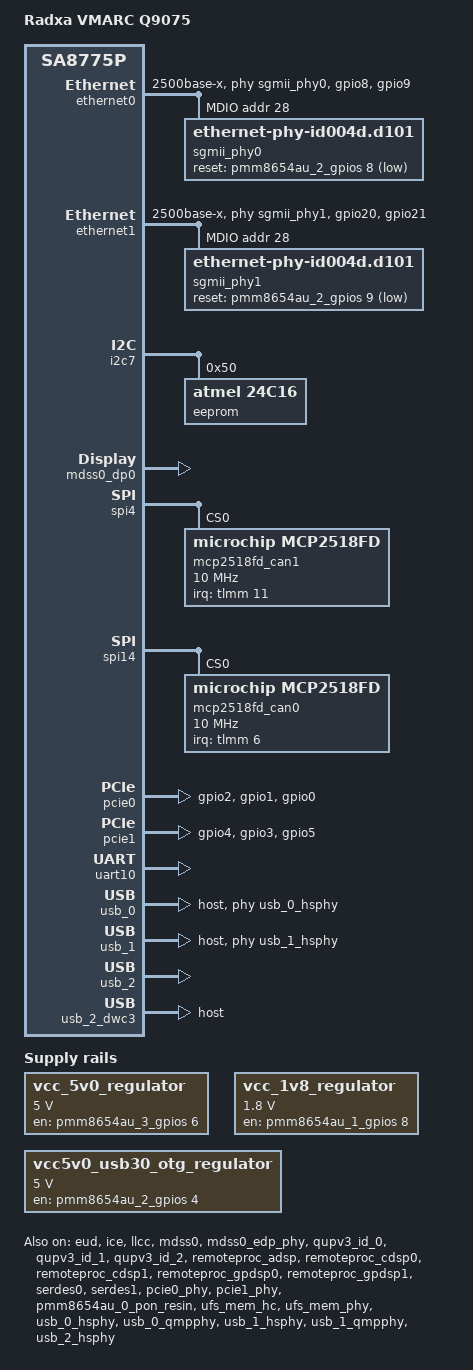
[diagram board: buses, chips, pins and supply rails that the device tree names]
// SPDX-License-Identifier: BSD-3-Clause
/*
 * Copyright (c) 2024, 2025, Qualcomm Innovation Center, Inc. All rights reserved.
 * Copyright (c) 2026 Radxa Computer (Shenzhen) Co., Ltd.
 */
/dts-v1/;

#include <dt-bindings/gpio/gpio.h>
#include <dt-bindings/leds/common.h>
#include <dt-bindings/regulator/qcom,rpmh-regulator.h>
#include  <dt-bindings/pwm/pwm.h>

#include "sa8775p.dtsi"
#include "sa8775p-addons.dtsi"
#include "sa8775p-pmics.dtsi"
#include "qcs9075-thermal.dtsi"
#include "qcs9xxx-reserved-memory.dtsi"
#include "sa8775p-video.dtsi"
#include "sa8775p-camera.dtsi"

/ {
	model = "Radxa VMARC Q9075";
	compatible = "radxa,vmarc-q9075", "qcom,qcs9075", "qcom,sa8775p";

	qcom,msm-id = <676 0x20000>;
	qcom,board-id = <0x10020 0>, <0x10019 0>;

	aliases {
		ethernet0 = &ethernet0;
		ethernet1 = &ethernet1;
		i2c0 = &i2c0;
		i2c1 = &i2c1;
		i2c2 = &i2c2;
		i2c3 = &i2c3;
		i2c4 = &i2c4;
		i2c5 = &i2c5;
		i2c7 = &i2c7;
		i2c8 = &i2c8;
		i2c9 = &i2c9;
		i2c10 = &i2c10;
		i2c11 = &i2c11;
		i2c12 = &i2c12;
		i2c13 = &i2c13;
		i2c14 = &i2c14;
		i2c15 = &i2c15;
		i2c16 = &i2c16;
		i2c17 = &i2c17;
		i2c18 = &i2c18;
		i2c19 = &i2c19;
		i2c20 = &i2c20;
		i2c21 = &i2c21;
		i2c22 = &cci0_i2c0;
		i2c23 = &cci0_i2c1;
		i2c24 = &cci1_i2c0;
		i2c25 = &cci1_i2c1;
		i2c26 = &cci2_i2c0;
		i2c27 = &cci2_i2c1;
		i2c28 = &cci3_i2c0;
		i2c29 = &cci3_i2c1;
		spi0 = &spi0;
		spi1 = &spi1;
		spi2 = &spi2;
		spi3 = &spi3;
		spi4 = &spi4;
		spi5 = &spi5;
		spi7 = &spi7;
		spi8 = &spi8;
		spi9 = &spi9;
		spi10 = &spi10;
		spi11 = &spi11;
		spi12 = &spi12;
		spi14 = &spi14;
		spi15 = &spi15;
		spi16 = &spi16;
		spi17 = &spi17;
		spi18 = &spi18;
		spi19 = &spi19;
		spi20 = &spi20;
		serial0 = &uart10;
		ufshc1 = &ufs_mem_hc;
	};

	chosen {
		stdout-path = "serial0:115200n8";
	};

	vcc_5v0_regulator: vcc-5v0-regulator {
		compatible = "regulator-fixed";
		regulator-name = "vcc_5v0";
		gpio = <&pmm8654au_3_gpios 6 GPIO_ACTIVE_HIGH>;
		pinctrl-names = "default";
		pinctrl-0 = <&pmg_gpio_6_vreg_5v_en>;
		regulator-min-microvolt = <5000000>;
		regulator-max-microvolt = <5000000>;
		regulator-boot-on;
		enable-active-high;
		regulator-always-on;
	};

	vcc_1v8_regulator: vcc-1v8-regulator {
		compatible = "regulator-fixed";
		regulator-name = "vcc_1v8";
		gpio = <&pmm8654au_1_gpios 8 GPIO_ACTIVE_HIGH>;
		enable-active-high;
		pinctrl-names = "default";
		pinctrl-0 = <&pmc_gpio_8_eth_pwr_en>;
		regulator-min-microvolt = <1800000>;
		regulator-max-microvolt = <1800000>;
		regulator-boot-on;
		regulator-always-on;
	};

	vcc5v0_usb30_otg_regulator: vcc5v0-usb30-otg-regulator {
		compatible = "regulator-fixed";
		regulator-name = "vcc5v0_usb30_otg";
		gpio = <&pmm8654au_2_gpios 4 GPIO_ACTIVE_HIGH>;
		pinctrl-names = "default";
		pinctrl-0 = <&pme_gpio_4_usb1_pwr_en>;
		regulator-min-microvolt = <5000000>;
		regulator-max-microvolt = <5000000>;
		regulator-boot-on;
		enable-active-high;
		regulator-always-on;
	};
};

&apps_rsc {
	regulators-0 {
		compatible = "qcom,pmm8654au-rpmh-regulators";
		qcom,pmic-id = "a";

		vreg_s4a: smps4 {
			regulator-name = "vreg_s4a";
			regulator-min-microvolt = <1800000>;
			regulator-max-microvolt = <1816000>;
			regulator-initial-mode = <RPMH_REGULATOR_MODE_HPM>;
		};

		vreg_s5a: smps5 {
			regulator-name = "vreg_s5a";
			regulator-min-microvolt = <1850000>;
			regulator-max-microvolt = <1996000>;
			regulator-initial-mode = <RPMH_REGULATOR_MODE_HPM>;
		};

		vreg_s9a: smps9 {
			regulator-name = "vreg_s9a";
			regulator-min-microvolt = <535000>;
			regulator-max-microvolt = <1120000>;
			regulator-initial-mode = <RPMH_REGULATOR_MODE_HPM>;
		};

		vreg_l4a: ldo4 {
			regulator-name = "vreg_l4a";
			regulator-min-microvolt = <788000>;
			regulator-max-microvolt = <1050000>;
			regulator-initial-mode = <RPMH_REGULATOR_MODE_HPM>;
			regulator-allow-set-load;
			regulator-allowed-modes = <RPMH_REGULATOR_MODE_LPM
						   RPMH_REGULATOR_MODE_HPM>;
		};

		vreg_l5a: ldo5 {
			regulator-name = "vreg_l5a";
			regulator-min-microvolt = <870000>;
			regulator-max-microvolt = <950000>;
			regulator-initial-mode = <RPMH_REGULATOR_MODE_HPM>;
			regulator-allow-set-load;
			regulator-allowed-modes = <RPMH_REGULATOR_MODE_LPM
						   RPMH_REGULATOR_MODE_HPM>;
		};

		vreg_l6a: ldo6 {
			regulator-name = "vreg_l6a";
			regulator-min-microvolt = <870000>;
			regulator-max-microvolt = <970000>;
			regulator-initial-mode = <RPMH_REGULATOR_MODE_HPM>;
			regulator-allow-set-load;
			regulator-allowed-modes = <RPMH_REGULATOR_MODE_LPM
						   RPMH_REGULATOR_MODE_HPM>;
		};

		vreg_l7a: ldo7 {
			regulator-name = "vreg_l7a";
			regulator-min-microvolt = <720000>;
			regulator-max-microvolt = <950000>;
			regulator-initial-mode = <RPMH_REGULATOR_MODE_HPM>;
			regulator-allow-set-load;
			regulator-allowed-modes = <RPMH_REGULATOR_MODE_LPM
						   RPMH_REGULATOR_MODE_HPM>;
		};

		vreg_l8a: ldo8 {
			regulator-name = "vreg_l8a";
			regulator-min-microvolt = <2504000>;
			regulator-max-microvolt = <3300000>;
			regulator-initial-mode = <RPMH_REGULATOR_MODE_HPM>;
			regulator-allow-set-load;
			regulator-allowed-modes = <RPMH_REGULATOR_MODE_LPM
						   RPMH_REGULATOR_MODE_HPM>;
		};

		vreg_l9a: ldo9 {
			regulator-name = "vreg_l9a";
			regulator-min-microvolt = <2970000>;
			regulator-max-microvolt = <3544000>;
			regulator-initial-mode = <RPMH_REGULATOR_MODE_HPM>;
			regulator-allow-set-load;
			regulator-allowed-modes = <RPMH_REGULATOR_MODE_LPM
						   RPMH_REGULATOR_MODE_HPM>;
		};
	};

	regulators-1 {
		compatible = "qcom,pmm8654au-rpmh-regulators";
		qcom,pmic-id = "c";

		vreg_l1c: ldo1 {
			regulator-name = "vreg_l1c";
			regulator-min-microvolt = <1140000>;
			regulator-max-microvolt = <1260000>;
			regulator-initial-mode = <RPMH_REGULATOR_MODE_HPM>;
			regulator-allow-set-load;
			regulator-allowed-modes = <RPMH_REGULATOR_MODE_LPM
						   RPMH_REGULATOR_MODE_HPM>;
		};

		vreg_l2c: ldo2 {
			regulator-name = "vreg_l2c";
			regulator-min-microvolt = <900000>;
			regulator-max-microvolt = <1100000>;
			regulator-initial-mode = <RPMH_REGULATOR_MODE_HPM>;
			regulator-allow-set-load;
			regulator-allowed-modes = <RPMH_REGULATOR_MODE_LPM
						   RPMH_REGULATOR_MODE_HPM>;
		};

		vreg_l3c: ldo3 {
			regulator-name = "vreg_l3c";
			regulator-min-microvolt = <1100000>;
			regulator-max-microvolt = <1300000>;
			regulator-initial-mode = <RPMH_REGULATOR_MODE_HPM>;
			regulator-allow-set-load;
			regulator-allowed-modes = <RPMH_REGULATOR_MODE_LPM
						   RPMH_REGULATOR_MODE_HPM>;
		};

		vreg_l4c: ldo4 {
			regulator-name = "vreg_l4c";
			regulator-min-microvolt = <1200000>;
			regulator-max-microvolt = <1200000>;
			regulator-initial-mode = <RPMH_REGULATOR_MODE_HPM>;
			/*
			 * FIXME: This should have regulator-allow-set-load but
			 * we're getting an over-current fault from the PMIC
			 * when switching to LPM.
			 */
		};

		vreg_l5c: ldo5 {
			regulator-name = "vreg_l5c";
			regulator-min-microvolt = <1100000>;
			regulator-max-microvolt = <1300000>;
			regulator-initial-mode = <RPMH_REGULATOR_MODE_HPM>;
			regulator-allow-set-load;
			regulator-allowed-modes = <RPMH_REGULATOR_MODE_LPM
						   RPMH_REGULATOR_MODE_HPM>;
		};

		vreg_l6c: ldo6 {
			regulator-name = "vreg_l6c";
			regulator-min-microvolt = <1620000>;
			regulator-max-microvolt = <1980000>;
			regulator-initial-mode = <RPMH_REGULATOR_MODE_HPM>;
			regulator-allow-set-load;
			regulator-allowed-modes = <RPMH_REGULATOR_MODE_LPM
						   RPMH_REGULATOR_MODE_HPM>;
		};

		vreg_l7c: ldo7 {
			regulator-name = "vreg_l7c";
			regulator-min-microvolt = <1620000>;
			regulator-max-microvolt = <2000000>;
			regulator-initial-mode = <RPMH_REGULATOR_MODE_HPM>;
			regulator-allow-set-load;
			regulator-allowed-modes = <RPMH_REGULATOR_MODE_LPM
						   RPMH_REGULATOR_MODE_HPM>;
		};

		vreg_l8c: ldo8 {
			regulator-name = "vreg_l8c";
			regulator-min-microvolt = <2400000>;
			regulator-max-microvolt = <3300000>;
			regulator-initial-mode = <RPMH_REGULATOR_MODE_HPM>;
			regulator-allow-set-load;
			regulator-allowed-modes = <RPMH_REGULATOR_MODE_LPM
						   RPMH_REGULATOR_MODE_HPM>;
		};

		vreg_l9c: ldo9 {
			regulator-name = "vreg_l9c";
			regulator-min-microvolt = <1650000>;
			regulator-max-microvolt = <2700000>;
			regulator-initial-mode = <RPMH_REGULATOR_MODE_HPM>;
			regulator-allow-set-load;
			regulator-allowed-modes = <RPMH_REGULATOR_MODE_LPM
						   RPMH_REGULATOR_MODE_HPM>;
		};
	};

	regulators-2 {
		compatible = "qcom,pmm8654au-rpmh-regulators";
		qcom,pmic-id = "e";

		vreg_s4e: smps4 {
			regulator-name = "vreg_s4e";
			regulator-min-microvolt = <970000>;
			regulator-max-microvolt = <1520000>;
			regulator-initial-mode = <RPMH_REGULATOR_MODE_HPM>;
		};

		vreg_s7e: smps7 {
			regulator-name = "vreg_s7e";
			regulator-min-microvolt = <1010000>;
			regulator-max-microvolt = <1170000>;
			regulator-initial-mode = <RPMH_REGULATOR_MODE_HPM>;
		};

		vreg_s9e: smps9 {
			regulator-name = "vreg_s9e";
			regulator-min-microvolt = <300000>;
			regulator-max-microvolt = <570000>;
			regulator-initial-mode = <RPMH_REGULATOR_MODE_HPM>;
		};

		vreg_l6e: ldo6 {
			regulator-name = "vreg_l6e";
			regulator-min-microvolt = <1280000>;
			regulator-max-microvolt = <1450000>;
			regulator-initial-mode = <RPMH_REGULATOR_MODE_HPM>;
			regulator-allow-set-load;
			regulator-allowed-modes = <RPMH_REGULATOR_MODE_LPM
						   RPMH_REGULATOR_MODE_HPM>;
		};

		vreg_l8e: ldo8 {
			regulator-name = "vreg_l8e";
			regulator-min-microvolt = <1800000>;
			regulator-max-microvolt = <1950000>;
			regulator-initial-mode = <RPMH_REGULATOR_MODE_HPM>;
			regulator-allow-set-load;
			regulator-allowed-modes = <RPMH_REGULATOR_MODE_LPM
						   RPMH_REGULATOR_MODE_HPM>;
		};
	};
};

&ethernet0 {
	phy-handle = <&sgmii_phy0>;
	phy-mode = "2500base-x";

	pinctrl-0 = <&ethernet0_default>;
	pinctrl-names = "default";

	snps,mtl-rx-config = <&mtl_rx_setup>;
	snps,mtl-tx-config = <&mtl_tx_setup>;
	snps,ps-speed = <1000>;

	status = "okay";

	eeprom-for-mac = <&eeprom>;
	mac-eeprom-offset = <0x9e>;

	mdio {
		compatible = "snps,dwmac-mdio";
		#address-cells = <1>;
		#size-cells = <0>;

		sgmii_phy0: phy@1c {
			compatible = "ethernet-phy-id004d.d101";
			reg = <0x1c>;
			device_type = "ethernet-phy";
			reset-gpios = <&pmm8654au_2_gpios 8 GPIO_ACTIVE_LOW>;
			reset-assert-us = <11000>;
			reset-deassert-us = <70000>;

			leds {
				#address-cells = <1>;
				#size-cells = <0>;

				led@0 {
					reg = <0>;
					active-low;
					color = <LED_COLOR_ID_YELLOW>;
				};

				led@1 {
					reg = <1>;
					active-low;
					color = <LED_COLOR_ID_GREEN>;
				};
			};
		};
	};

	mtl_rx_setup: rx-queues-config {
		snps,rx-queues-to-use = <4>;
		snps,rx-sched-sp;

		queue0 {
			snps,dcb-algorithm;
			snps,map-to-dma-channel = <0x0>;
			snps,route-up;
			snps,priority = <0x1>;
		};

		queue1 {
			snps,dcb-algorithm;
			snps,map-to-dma-channel = <0x1>;
			snps,route-ptp;
		};

		queue2 {
			snps,avb-algorithm;
			snps,map-to-dma-channel = <0x2>;
			snps,route-avcp;
		};

		queue3 {
			snps,avb-algorithm;
			snps,map-to-dma-channel = <0x3>;
			snps,priority = <0xc>;
		};
	};

	mtl_tx_setup: tx-queues-config {
		snps,tx-queues-to-use = <4>;
		snps,tx-sched-sp;

		queue0 {
			snps,dcb-algorithm;
		};

		queue1 {
			snps,dcb-algorithm;
		};

		queue2 {
			snps,avb-algorithm;
			snps,send_slope = <0x1000>;
			snps,idle_slope = <0x1000>;
			snps,high_credit = <0x3e800>;
			snps,low_credit = <0xffc18000>;
		};

		queue3 {
			snps,avb-algorithm;
			snps,send_slope = <0x1000>;
			snps,idle_slope = <0x1000>;
			snps,high_credit = <0x3e800>;
			snps,low_credit = <0xffc18000>;
		};
	};
};

&ethernet1 {
	phy-handle = <&sgmii_phy1>;
	phy-mode = "2500base-x";

	pinctrl-0 = <&ethernet1_default>;
	pinctrl-names = "default";

	snps,mtl-rx-config = <&mtl_rx_setup1>;
	snps,mtl-tx-config = <&mtl_tx_setup1>;
	snps,ps-speed = <1000>;

	status = "okay";

	eeprom-for-mac = <&eeprom>;
	mac-eeprom-offset = <0xa4>;

	mdio {
		compatible = "snps,dwmac-mdio";
		#address-cells = <1>;
		#size-cells = <0>;

		sgmii_phy1: phy@1c {
			compatible = "ethernet-phy-id004d.d101";
			reg = <0x1c>;
			device_type = "ethernet-phy";
			reset-gpios = <&pmm8654au_2_gpios 9 GPIO_ACTIVE_LOW>;
			reset-assert-us = <11000>;
			reset-deassert-us = <70000>;

			leds {
				#address-cells = <1>;
				#size-cells = <0>;

				led@0 {
					reg = <0>;
					active-low;
					color = <LED_COLOR_ID_YELLOW>;
				};

				led@1 {
					reg = <1>;
					active-low;
					color = <LED_COLOR_ID_GREEN>;
				};
			};
		};
	};

	mtl_rx_setup1: rx-queues-config {
		snps,rx-queues-to-use = <4>;
		snps,rx-sched-sp;

		queue0 {
			snps,dcb-algorithm;
			snps,map-to-dma-channel = <0x0>;
			snps,route-up;
			snps,priority = <0x1>;
		};

		queue1 {
			snps,dcb-algorithm;
			snps,map-to-dma-channel = <0x1>;
			snps,route-ptp;
		};

		queue2 {
			snps,avb-algorithm;
			snps,map-to-dma-channel = <0x2>;
			snps,route-avcp;
		};

		queue3 {
			snps,avb-algorithm;
			snps,map-to-dma-channel = <0x3>;
			snps,priority = <0xc>;
		};
	};

	mtl_tx_setup1: tx-queues-config {
		snps,tx-queues-to-use = <4>;
		snps,tx-sched-sp;

		queue0 {
			snps,dcb-algorithm;
		};

		queue1 {
			snps,dcb-algorithm;
		};

		queue2 {
			snps,avb-algorithm;
			snps,send_slope = <0x1000>;
			snps,idle_slope = <0x1000>;
			snps,high_credit = <0x3e800>;
			snps,low_credit = <0xffc18000>;
		};

		queue3 {
			snps,avb-algorithm;
			snps,send_slope = <0x1000>;
			snps,idle_slope = <0x1000>;
			snps,high_credit = <0x3e800>;
			snps,low_credit = <0xffc18000>;
		};
	};
};

&eud {
	status = "okay";
};

&i2c0 {
	qcom,load-firmware;
	qcom,xfer-mode = <1>;
};

&i2c1 {
	qcom,load-firmware;
	qcom,xfer-mode = <1>;
};

&i2c2 {
	qcom,load-firmware;
	qcom,xfer-mode = <1>;
};

&i2c3 {
	qcom,load-firmware;
	qcom,xfer-mode = <1>;
};

&i2c4 {
	qcom,load-firmware;
	qcom,xfer-mode = <1>;
};

&i2c5 {
	qcom,load-firmware;
	qcom,xfer-mode = <1>;
};

&i2c7 {
	qcom,load-firmware;
	qcom,xfer-mode = <1>;
	pinctrl-names = "default";
	pinctrl-0 = <&qup_i2c7_default>;
	status = "okay";

	eeprom: eeprom@50 {
		compatible = "atmel,24c16";
		reg = <0x50>;
		pagesize = <16>;
		i2c_id = <7>;
	};
};

&i2c8 {
	qcom,load-firmware;
	qcom,xfer-mode = <1>;
};

&i2c9 {
	qcom,load-firmware;
	qcom,xfer-mode = <1>;
};

&i2c10 {
	qcom,load-firmware;
	qcom,xfer-mode = <1>;
};

&i2c11 {
	qcom,load-firmware;
	qcom,xfer-mode = <1>;
};

&i2c12 {
	qcom,load-firmware;
	qcom,xfer-mode = <1>;
};

&i2c13 {
	qcom,load-firmware;
	qcom,xfer-mode = <1>;
};

&i2c14 {
	qcom,load-firmware;
	qcom,xfer-mode = <1>;
};

&i2c15 {
	qcom,load-firmware;
	qcom,xfer-mode = <1>;
};

&i2c16 {
	qcom,load-firmware;
	qcom,xfer-mode = <1>;
};

&i2c17 {
	qcom,load-firmware;
	qcom,xfer-mode = <1>;
};

&i2c18 {
	qcom,load-firmware;
	qcom,xfer-mode = <1>;
};

&i2c19 {
	qcom,load-firmware;
	qcom,xfer-mode = <1>;
};

&ice {
	status = "okay";
};

&llcc {
	status = "okay";
};

&mdss0 {
	status = "okay";
};

&mdss0_dp0 {
	status = "okay";
};

&mdss0_dp0_out {
	data-lanes = <0 1 2 3>;
	link-frequencies = /bits/ 64 <1620000000 2700000000 5400000000 8100000000>;
};

&mdss0_edp_phy {
	status = "okay";
};

&qupv3_id_0 {
	firmware-name = "qupv3fw.elf";
	status = "okay";
};

&qupv3_id_1 {
	firmware-name = "qupv3fw.elf";
	status = "okay";
};

&qupv3_id_2 {
	firmware-name = "qupv3fw.elf";
	status = "okay";
};

&remoteproc_adsp {
	firmware-name = "qcom/sa8775p/adsp.mbn";
	status = "okay";
};

&remoteproc_cdsp0 {
	firmware-name = "qcom/sa8775p/cdsp0.mbn";
	status = "okay";
};

&remoteproc_cdsp1 {
	firmware-name = "qcom/sa8775p/cdsp1.mbn";
	status = "okay";
};

&remoteproc_gpdsp0 {
	firmware-name = "qcom/sa8775p/gpdsp0.mbn";
	status = "okay";
};

&remoteproc_gpdsp1 {
	firmware-name = "qcom/sa8775p/gpdsp1.mbn";
	status = "okay";
};

&serdes0 {
	phy-supply = <&vreg_l5a>;
	status = "okay";
};

&serdes1 {
	phy-supply = <&vreg_l5a>;
	status = "okay";
};

&sleep_clk {
	clock-frequency = <32768>;
};

&spi0 {
	qcom,load-firmware;
	qcom,xfer-mode = <1>;
};

&spi1 {
	qcom,load-firmware;
	qcom,xfer-mode = <1>;
};

&spi2 {
	qcom,load-firmware;
	qcom,xfer-mode = <1>;
};

&spi3 {
	qcom,load-firmware;
	qcom,xfer-mode = <1>;
};

&spi4 {
	qcom,load-firmware;
	qcom,xfer-mode = <1>;
	status = "okay";

	mcp2518fd_can1: can@0 {
		compatible = "microchip,mcp2518fd";
		reg = <0>;
		clock-frequency = <40000000>;
		spi-max-frequency = <10000000>;
		interrupt-names = "can1_irq";
		interrupts-extended = <&tlmm 11 IRQ_TYPE_LEVEL_LOW>;
		status = "okay";
	};
};

&spi5 {
	qcom,load-firmware;
	qcom,xfer-mode = <1>;
};

&spi7 {
	qcom,load-firmware;
	qcom,xfer-mode = <1>;
};

&spi8 {
	qcom,load-firmware;
	qcom,xfer-mode = <1>;
};

&spi9 {
	qcom,load-firmware;
	qcom,xfer-mode = <1>;
};

&spi10 {
	qcom,load-firmware;
	qcom,xfer-mode = <1>;
};

&spi11 {
	qcom,load-firmware;
	qcom,xfer-mode = <1>;
};

&spi12 {
	qcom,load-firmware;
	qcom,xfer-mode = <1>;
};

&spi14 {
	qcom,load-firmware;
	qcom,xfer-mode = <1>;
	status = "okay";

	mcp2518fd_can0: can@0 {
		compatible = "microchip,mcp2518fd";
		reg = <0>;
		clock-frequency = <40000000>;
		spi-max-frequency = <10000000>;
		interrupt-names = "can0_irq";
		interrupts-extended = <&tlmm 6 IRQ_TYPE_LEVEL_LOW>;
		status = "okay";
	};
};

&spi15 {
	qcom,load-firmware;
	qcom,xfer-mode = <1>;
};

&spi16 {
	qcom,load-firmware;
	qcom,xfer-mode = <1>;
};

&spi17 {
	qcom,load-firmware;
	qcom,xfer-mode = <1>;
};

&spi18 {
	qcom,load-firmware;
	qcom,xfer-mode = <1>;
};

&spi19 {
	qcom,load-firmware;
	qcom,xfer-mode = <1>;
};

&pcie0 {
	perst-gpios = <&tlmm 2 GPIO_ACTIVE_LOW>;

	pinctrl-names = "default";
	pinctrl-0 = <&pcie0_default_state>;

	status = "okay";
};

&pcie1 {
	perst-gpios = <&tlmm 4 GPIO_ACTIVE_LOW>;

	pinctrl-names = "default";
	pinctrl-0 = <&pcie1_default_state>;

	status = "okay";
};

&pcie0_phy {
	vdda-phy-supply = <&vreg_l5a>;
	vdda-pll-supply = <&vreg_l1c>;

	status = "okay";
};

&pcie1_phy {
	vdda-phy-supply = <&vreg_l5a>;
	vdda-pll-supply = <&vreg_l1c>;

	status = "okay";
};

&pcieport0 {
	wake-gpios = <&tlmm 0 GPIO_ACTIVE_HIGH>;
};

&pcieport1 {
	wake-gpios = <&tlmm 5 GPIO_ACTIVE_HIGH>;
};

&pmm8654au_0_pon_resin {
	linux,code = <KEY_VOLUMEDOWN>;
	status = "okay";
};

&pmm8654au_0_rtc {
	status = "disabled";
};

&uart0 {
	qcom,load-firmware;
	qcom,xfer-mode = <1>;
};

&uart1 {
	qcom,load-firmware;
	qcom,xfer-mode = <1>;
};

&uart2 {
	qcom,load-firmware;
	qcom,xfer-mode = <1>;
};

&uart3 {
	qcom,load-firmware;
	qcom,xfer-mode = <1>;
};

&uart4 {
	qcom,load-firmware;
	qcom,xfer-mode = <1>;
};

&uart5 {
	qcom,load-firmware;
	qcom,xfer-mode = <1>;
};

&uart7 {
	qcom,load-firmware;
	qcom,xfer-mode = <1>;
};

&uart8 {
	qcom,load-firmware;
	qcom,xfer-mode = <1>;
};

&uart9 {
	qcom,load-firmware;
	qcom,xfer-mode = <1>;
};

&uart10 {
	compatible = "qcom,geni-debug-uart";
	status = "okay";
};

&uart11 {
	qcom,load-firmware;
	qcom,xfer-mode = <1>;
};

&uart12 {
	qcom,load-firmware;
	qcom,xfer-mode = <1>;
};

&uart14 {
	qcom,load-firmware;
	qcom,xfer-mode = <1>;
};

&uart15 {
	qcom,load-firmware;
	qcom,xfer-mode = <1>;
};

&uart16 {
	qcom,load-firmware;
	qcom,xfer-mode = <1>;
};

&uart17 {
	qcom,load-firmware;
	qcom,xfer-mode = <1>;
};

&uart18 {
	qcom,load-firmware;
	qcom,xfer-mode = <1>;
};

&uart19 {
	qcom,load-firmware;
	qcom,xfer-mode = <1>;
};

&uart20 {
	qcom,load-firmware;
	qcom,xfer-mode = <1>;
};

&ufs_mem_hc {
	reset-gpios = <&tlmm 149 GPIO_ACTIVE_LOW>;
	vcc-supply = <&vreg_l8a>;
	vcc-max-microamp = <1100000>;
	vccq-supply = <&vreg_l4c>;
	vccq-max-microamp = <1200000>;

	status = "okay";
};

&ufs_mem_phy {
	vdda-phy-supply = <&vreg_l4a>;
	vdda-pll-supply = <&vreg_l1c>;

	status = "okay";
};

/delete-node/ &usb_0_dwc3;

&usb_0 {
	reg = <0x0 0x0a600000 0x0 0x200000>;

	interrupts-extended = <&intc GIC_SPI 292 IRQ_TYPE_LEVEL_HIGH>,
			      <&intc GIC_SPI 287 IRQ_TYPE_LEVEL_HIGH>,
			      <&pdc 14 IRQ_TYPE_EDGE_BOTH>,
			      <&pdc 15 IRQ_TYPE_EDGE_BOTH>,
			      <&pdc 12 IRQ_TYPE_LEVEL_HIGH>;
	interrupt-names = "dwc_usb3",
			  "pwr_event",
			  "dp_hs_phy_irq",
			  "dm_hs_phy_irq",
			  "ss_phy_irq";

	iommus = <&apps_smmu 0x080 0x0>;
	phys = <&usb_0_hsphy>, <&usb_0_qmpphy>;
	phy-names = "usb2-phy", "usb3-phy";

	dr_mode = "host";
	snps,dis_u2_susphy_quirk;
	snps,dis_enblslpm_quirk;
	qcom,enable-rt;
	wakeup-source;
	vbus_dwc3-supply = <&vcc5v0_usb30_otg_regulator>;
	status = "okay";
};

&usb_0_hsphy {
	vdda-pll-supply = <&vreg_l7a>;
	vdda18-supply = <&vreg_l6c>;
	vdda33-supply = <&vreg_l9a>;

	status = "okay";
};

&usb_0_qmpphy {
	vdda-phy-supply = <&vreg_l1c>;
	vdda-pll-supply = <&vreg_l7a>;

	status = "okay";
};

/delete-node/ &usb_1_dwc3;

&usb_1 {
	reg = <0x0 0x0a800000 0x0 0x200000>;
	interrupts-extended = <&intc GIC_SPI 349 IRQ_TYPE_LEVEL_HIGH>,
				<&intc GIC_SPI 352 IRQ_TYPE_LEVEL_HIGH>,
				<&pdc 8 IRQ_TYPE_EDGE_BOTH>,
				<&pdc 7 IRQ_TYPE_EDGE_BOTH>,
				<&pdc 13 IRQ_TYPE_LEVEL_HIGH>;
	interrupt-names = "dwc_usb3",
			"pwr_event",
			"dp_hs_phy_irq",
			"dm_hs_phy_irq",
			"ss_phy_irq";

	iommus = <&apps_smmu 0x0a0 0x0>;
	phys = <&usb_1_hsphy>, <&usb_1_qmpphy>;
	phy-names = "usb2-phy", "usb3-phy";
	snps,dis_u2_susphy_quirk;
	snps,dis_enblslpm_quirk;
	qcom,enable-rt;
	wakeup-source;
	dr_mode = "host";
	status = "okay";
};

&usb_1_hsphy {
	vdda-pll-supply = <&vreg_l7a>;
	vdda18-supply = <&vreg_l6c>;
	vdda33-supply = <&vreg_l9a>;

	status = "okay";
};

&usb_1_qmpphy {
	vdda-phy-supply = <&vreg_l1c>;
	vdda-pll-supply = <&vreg_l7a>;

	status = "okay";
};

&usb_2 {
	status = "okay";
};

&usb_2_dwc3 {
	dr_mode = "host";
};

&usb_2_hsphy {
	vdda-pll-supply = <&vreg_l7a>;
	vdda18-supply = <&vreg_l6c>;
	vdda33-supply = <&vreg_l9a>;

	status = "okay";
};

&xo_board_clk {
	clock-frequency = <38400000>;
};

&pmm8654au_1_gpios {

	pmc_gpio_8_eth_pwr_en: pmc-gpio-8-eth-pwr-en-state {
		pins = "gpio8";
		function = "normal";
		output-high;
		bias-pull-up;
	};
};

&pmm8654au_2_gpios {

	pme_gpio_4_usb1_pwr_en: pme-gpio-4-usb1-pwr-en-state {
		pins = "gpio4";
		function = "normal";
		output-high;
		bias-pull-up;
	};
};

&pmm8654au_3_gpios {

	pmg_gpio_6_vreg_5v_en: pmg-gpio-6-vreg-5v-en-state {
		pins = "gpio6";
		function = "normal";
		output-high;
		bias-pull-up;
	};
};

&tlmm {

	dp_hot_plug_det: dp-hot-plug-det-state {
		pins = "gpio101";
		function = "edp0_hot";
		bias-disable;
	};

	dp1_hot_plug_det: dp1-hot-plug-det-state {
		pins = "gpio102";
		function = "edp1_hot";
		bias-disable;
	};

	ethernet0_default: ethernet0-default-state {
		ethernet0_mdc: ethernet0-mdc-pins {
			pins = "gpio8";
			function = "emac0_mdc";
			drive-strength = <16>;
			bias-pull-up;
		};

		ethernet0_mdio: ethernet0-mdio-pins {
			pins = "gpio9";
			function = "emac0_mdio";
			drive-strength = <16>;
			bias-pull-up;
		};
	};

	ethernet1_default: ethernet1-default-state {
		ethernet1_mdc: ethernet1-mdc-pins {
			pins = "gpio20";
			function = "emac1_mdc";
			drive-strength = <16>;
			bias-pull-up;
		};

		ethernet1_mdio: ethernet1-mdio-pins {
			pins = "gpio21";
			function = "emac1_mdio";
			drive-strength = <16>;
			bias-pull-up;
		};
	};

	qup_uart10_default: qup-uart10-state {
		pins = "gpio46", "gpio47";
		function = "qup1_se3";
	};

	pcie0_default_state: pcie0-default-state {
		perst-pins {
			pins = "gpio2";
			function = "gpio";
			drive-strength = <2>;
			bias-pull-down;
		};

		clkreq-pins {
			pins = "gpio1";
			function = "pcie0_clkreq";
			drive-strength = <2>;
			bias-pull-up;
		};

		wake-pins {
			pins = "gpio0";
			function = "gpio";
			drive-strength = <2>;
			bias-pull-up;
		};
	};

	pcie1_default_state: pcie1-default-state {
		perst-pins {
			pins = "gpio4";
			function = "gpio";
			drive-strength = <2>;
			bias-pull-down;
		};

		clkreq-pins {
			pins = "gpio3";
			function = "pcie1_clkreq";
			drive-strength = <2>;
			bias-pull-up;
		};

		wake-pins {
			pins = "gpio5";
			function = "gpio";
			drive-strength = <2>;
			bias-pull-up;
		};
	};
};
